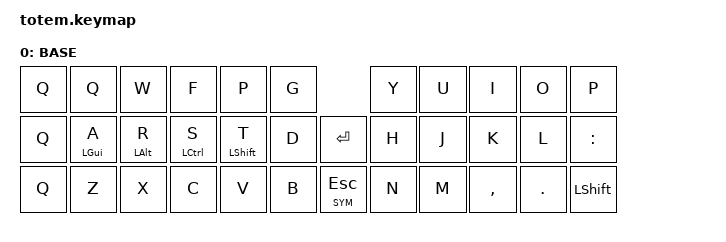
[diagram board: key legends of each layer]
//
//                                                        ▀▀▀▀▀     ▀▀▀▀▀          ▀▀█▀▀
//                                                        ▄▀▀▀▄  ▄  ▄▀▀▀▄  ▄  ▄▀▀▀▄  █  ▄▀▀▀▄
//                                                        █   █  █  █   █  █  █   █  █  █   █
//                                                         ▀▀▀   █   ▀▀▀   █   ▀▀▀   ▀   ▀▀▀
//                                                               █      ▄▄▄█▄▄▄    █   █  
//                                                               ▀      █  █  █     █▄█
//                                                             ▀▀▀▀▀    █  █  █      ▀
//                                                                      ▀  ▀  ▀
//
// ▄▄▄▄▄▄▄▄▄▄▄▄▄▄▄▄▄▄▄▄▄▄▄▄▄▄▄▄▄▄▄▄▄▄▄▄▄▄▄▄▄▄▄▄▄▄▄▄▄▄▄▄▄▄▄▄▄▄▄▄▄▄▄▄▄▄▄▄▄▄▄▄▄▄▄▄▄▄▄▄▄▄▄▄▄▄▄▄▄▄▄▄▄▄▄▄▄▄▄▄▄▄▄▄▄▄▄▄▄▄▄▄▄▄▄▄▄▄▄▄▄▄▄▄▄▄▄▄▄▄▄▄▄▄▄▄▄▄▄▄▄▄▄▄▄▄▄▄▄
       

#include <behaviors.dtsi>
#include <dt-bindings/zmk/keys.h>
#include <dt-bindings/zmk/bt.h>
#include <dt-bindings/zmk/outputs.h>

#define BASE 0

&mt {
  quick-tap-ms = <100>;
  global-quick-tap;
  flavor = "tap-preferred";
  tapping-term-ms = <170>;
};

        keymap {
                compatible = "zmk,keymap";
// ▄▄▄▄▄▄▄▄▄▄▄▄▄▄▄▄▄▄▄▄▄▄▄▄▄▄▄▄▄▄▄▄▄▄▄▄▄▄▄▄▄▄▄▄▄▄▄▄▄▄▄▄▄▄▄▄▄▄▄▄▄▄▄▄▄▄▄▄▄▄▄▄▄▄▄▄▄▄▄▄▄▄▄▄▄▄▄▄▄▄▄▄▄▄▄▄▄▄▄▄▄▄▄▄▄▄▄▄▄▄▄▄▄▄▄▄▄▄▄▄▄▄▄▄▄▄▄▄▄▄▄▄▄▄▄▄▄▄▄▄▄▄▄▄▄▄▄▄▄

                base_layer {
// ┏━━━━━━━━━━━━━━━━━━━━━━━━━━━━━━━━━━━━━━━┓
label= "BASE"                              ;
// ┗━━━━━━━━━━━━━━━━━━━━━━━━━━━━━━━━━━━━━━━┛
//             ┏━━━━━━━━━━━┳━━━━━━━━━━━┳━━━━━━━━━━━┳━━━━━━━━━━━┳━━━━━━━━━━━┓   ┏━━━━━━━━━━━┳━━━━━━━━━━━┳━━━━━━━━━━━┳━━━━━━━━━━━┳━━━━━━━━━━━┳━━━━━━━━━━━
//             ┃     Q     ┃     W     ┃     F     ┃     P     ┃     G     ┃   ┃           ┃     Y     ┃     U     ┃     I     ┃     O     ┃     P
//             ┣━━━━━━━━━━━╋━━━━━━━━━━━╋━━━━━━━━━━━╋━━━━━━━━━━━╋━━━━━━━━━━━┫   ┣━━━━━━━━━━━╋━━━━━━━━━━━╋━━━━━━━━━━━╋━━━━━━━━━━━╋━━━━━━━━━━━┫━━━━━━━━━━━╋
//             ┃     A     ┃     R     ┃     S     ┃     T     ┃     D     ┃   ┃    RET    ┃     H     ┃     J     ┃     K     ┃     L     ┃     ;
// ┏━━━━━━━━━━━╋━━━━━━━━━━━╋━━━━━━━━━━━╋━━━━━━━━━━━╋━━━━━━━━━━━╋━━━━━━━━━━━┫   ┣━━━━━━━━━━━╋━━━━━━━━━━━╋━━━━━━━━━━━╋━━━━━━━━━━━╋━━━━━━━━━━━╋━━━━━━━━━━━┓
// ┃     Q     ┃     Z     ┃     X     ┃     C     ┃     V     ┃     B     ┃   ┃    ESC    ┃     N     ┃     M     ┃     ,     ┃     .     ┃   LSHFT   ┃
// ┗━━━━━━━━━━━┻━━━━━━━━━━━┻━━━━━━━━━━━╋━━━━━━━━━━━╋━━━━━━━━━━━╋━━━━━━━━━━━┫   ┣━━━━━━━━━━━╋━━━━━━━━━━━╋━━━━━━━━━━━╋━━━━━━━━━━━┻━━━━━━━━━━━┻━━━━━━━━━━━┛
 bindings = <
// ╷           ╷           ╷           ╷           ╷           ╷           ╷   ╷           ╷           ╷           ╷           ╷           ╷           ╷

    &kp Q       &kp Q       &kp W       &kp F       &kp P       &kp G                       &kp Y       &kp U       &kp I       &kp O       &kp P
    &kp Q       &mt LGUI A  &mt LALT R  &mt LCTRL S &mt LSHFT T &kp D           &kp RET     &kp H       &kp J       &kp K       &kp L       &kp :
    &kp Q       &kp Z       &kp X       &kp C       &kp V       &kp B           &lt SYM ESC &kp N       &kp M       &kp COMMA   &kp DOT     &kp LSHFT
                        >;
                };

        };
};
